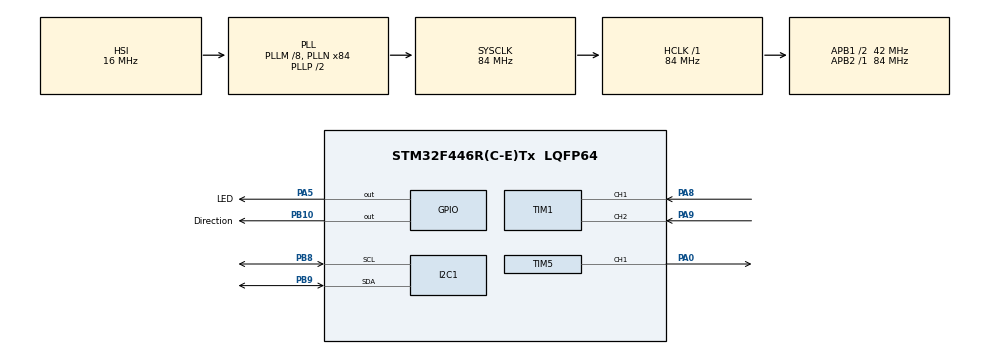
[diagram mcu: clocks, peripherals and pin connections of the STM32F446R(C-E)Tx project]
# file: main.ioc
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I2C1.I2C_Mode=I2C_Fast
Mcu.Family=STM32F4
Mcu.Name=STM32F446R(C-E)Tx
Mcu.Package=LQFP64
NVIC.PriorityGroup=NVIC_PRIORITYGROUP_4
NVIC.TIM2_IRQn=true\:0\:0\:false\:false\:true\:true\:true\:true
PA0-WKUP.Signal=S_TIM5_CH1
PA13.Mode=Serial_Wire
PA13.Signal=SYS_JTMS-SWDIO
PA14.Mode=Serial_Wire
PA14.Signal=SYS_JTCK-SWCLK
PA5.GPIO_Label=LED
PA5.Signal=GPIO_Output
PA8.GPIO_PuPd=GPIO_PULLUP
PA8.Signal=S_TIM1_CH1
PA9.GPIO_PuPd=GPIO_PULLUP
PA9.Signal=S_TIM1_CH2
PB10.GPIO_Label=Direction
PB10.GPIO_PuPd=GPIO_PULLDOWN
PB10.Signal=GPIO_Output
PB3.Signal=SYS_JTDO-SWO
PB8.GPIO_Pu=GPIO_PULLUP
PB8.Mode=I2C
PB8.Signal=I2C1_SCL
PB9.GPIO_Pu=GPIO_PULLUP
PB9.Mode=I2C
PB9.Signal=I2C1_SDA
PH0-OSC_IN.Mode=HSE-External-Oscillator
PH0-OSC_IN.Signal=RCC_OSC_IN
PH1-OSC_OUT.Mode=HSE-External-Oscillator
PH1-OSC_OUT.Signal=RCC_OSC_OUT
ProjectManager.HeapSize=0x200
ProjectManager.StackSize=0x400
ProjectManager.TargetToolchain=STM32CubeIDE
RCC.AHBFreq_Value=84000000
RCC.APB1CLKDivider=RCC_HCLK_DIV2
RCC.APB1Freq_Value=42000000
RCC.APB1TimFreq_Value=84000000
RCC.APB2Freq_Value=84000000
RCC.APB2TimFreq_Value=84000000
RCC.CortexFreq_Value=84000000
RCC.HCLKFreq_Value=84000000
RCC.HSE_VALUE=8000000
RCC.PLLM=8
RCC.PLLN=84
RCC.SYSCLKFreq_VALUE=84000000
RCC.SYSCLKSource=RCC_SYSCLKSOURCE_PLLCLK
RCC.USBFreq_Value=84000000
RCC.VCOOutputFreq_Value=168000000
SH.S_TIM1_CH1.0=TIM1_CH1,Encoder_Interface
SH.S_TIM1_CH2.0=TIM1_CH2,Encoder_Interface
SH.S_TIM5_CH1.0=TIM5_CH1,PWM Generation1 CH1
TIM1.EncoderMode=TIM_ENCODERMODE_TI12
TIM2.Period=336000-1
TIM5.AutoReloadPreload=TIM_AUTORELOAD_PRELOAD_ENABLE
TIM5.Channel-PWM\ Generation1\ CH1=TIM_CHANNEL_1
TIM5.Period=4199
TIM5.Prescaler=0
VP_TIM2_VS_ClockSourceINT.Mode=Internal
board=custom

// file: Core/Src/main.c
/* USER CODE BEGIN Header */
/**
 ******************************************************************************
 * @file           : main.c
 * @brief          : Main program body
 ******************************************************************************
 * @attention
 *
 * Copyright (c) 2024 STMicroelectronics.
 * All rights reserved.
 *
 * This software is licensed under terms that can be found in the LICENSE file
 * in the root directory of this software component.
 * If no LICENSE file comes with this software, it is provided AS-IS.
 *
 ******************************************************************************
 */
/* USER CODE END Header */
#include "main.h"
#include "i2c.h"
#include "tim.h"
#include "gpio.h"

/* USER CODE BEGIN Includes */
#include <stdio.h>
#include <stdint.h>
#include "encoder.h"
#include "mpu6050.h"
#include "kalman_filter.h"
#include "nidec_h24.h"
#include "pid.h"
#include <math.h>
/* USER CODE END Includes */

/* USER CODE BEGIN PV */

//encoder
static encoder_t enc;
static float rpm;

//IMU
static float distance, distance_error, distance_setpoint, new_angle, pid_out;
static mpu_data data;
static HAL_StatusTypeDef status;

//controllers
static PID_t pid;
static float Kp = 9.2;
static float Ki = 0.6;
static float Kd = 0.25;

//Control variables
static float rpm_limit = 0.03;
static float weight_balance = 5;
static float set_point = 0;
static float max_pid = 450;

//kalman
static float in_angle;
static Kalman filter;
static float angle_offset = -2.3;
static float pitch_angle;

//sampling time timer2
static float dt;

//prototype to get the dt
float getDt(TIM_HandleTypeDef *htim);

/* USER CODE END PV */

void SystemClock_Config(void);

int main(void)
{

  /* MCU Configuration--------------------------------------------------------*/

  /* Reset of all peripherals, Initializes the Flash interface and the Systick. */
  HAL_Init();

  /* Configure the system clock */
  SystemClock_Config();

  /* Initialize all configured peripherals */
  MX_GPIO_Init();
  MX_TIM5_Init();
  MX_I2C1_Init();
  MX_TIM1_Init();
  MX_TIM2_Init();
  /* USER CODE BEGIN 2 */

	//compute dt of timer2
	dt = getDt(&htim2);

	//pid config
	pid_init(&pid, Kp, Ki, Kd, -max_pid, max_pid, 150, -150);
	pid_set_setpoint(&pid, set_point);

	//imu init
	status = mpu6050_init();

	data = mpu6050_data(); //achieve the initial angle for the kalman filter

	in_angle = -atan(data.ax / sqrt(data.ay * data.ay + data.az * data.az))* 180 / M_PI;

	// Kalman filter init
	kalman_init(&filter, in_angle ); //set the initial angle

	//motor init
	nidec_h24_init();

	//encoder init
	encoder_init(&enc, AB, &htim1, 100);

	//notifies the term of initialization
	for (int i=0; i<6;i++){
		HAL_Delay(500);
		HAL_GPIO_TogglePin(GPIOA, GPIO_PIN_5);
	}

	//the timer2 starts
	HAL_TIM_Base_Start_IT(&htim2);
  /* USER CODE END 2 */

  /* Infinite loop */
  /* USER CODE BEGIN WHILE */
	while (1) {

		HAL_Delay(1);
    /* USER CODE END WHILE */

	}
}

void SystemClock_Config(void)
{
  RCC_OscInitTypeDef RCC_OscInitStruct = {0};
  RCC_ClkInitTypeDef RCC_ClkInitStruct = {0};

  /** Configure the main internal regulator output voltage
  */
  __HAL_RCC_PWR_CLK_ENABLE();
  __HAL_PWR_VOLTAGESCALING_CONFIG(PWR_REGULATOR_VOLTAGE_SCALE3);

  /** Initializes the RCC Oscillators according to the specified parameters
  * in the RCC_OscInitTypeDef structure.
  */
  RCC_OscInitStruct.OscillatorType = RCC_OSCILLATORTYPE_HSI;
  RCC_OscInitStruct.HSIState = RCC_HSI_ON;
  RCC_OscInitStruct.HSICalibrationValue = RCC_HSICALIBRATION_DEFAULT;
  RCC_OscInitStruct.PLL.PLLState = RCC_PLL_ON;
  RCC_OscInitStruct.PLL.PLLSource = RCC_PLLSOURCE_HSI;
  RCC_OscInitStruct.PLL.PLLM = 8;
  RCC_OscInitStruct.PLL.PLLN = 84;
  RCC_OscInitStruct.PLL.PLLP = RCC_PLLP_DIV2;
  RCC_OscInitStruct.PLL.PLLQ = 2;
  RCC_OscInitStruct.PLL.PLLR = 2;
  if (HAL_RCC_OscConfig(&RCC_OscInitStruct) != HAL_OK)
  {
    Error_Handler();
  }

  /** Initializes the CPU, AHB and APB buses clocks
  */
  RCC_ClkInitStruct.ClockType = RCC_CLOCKTYPE_HCLK|RCC_CLOCKTYPE_SYSCLK
                              |RCC_CLOCKTYPE_PCLK1|RCC_CLOCKTYPE_PCLK2;
  RCC_ClkInitStruct.SYSCLKSource = RCC_SYSCLKSOURCE_PLLCLK;
  RCC_ClkInitStruct.AHBCLKDivider = RCC_SYSCLK_DIV1;
  RCC_ClkInitStruct.APB1CLKDivider = RCC_HCLK_DIV2;
  RCC_ClkInitStruct.APB2CLKDivider = RCC_HCLK_DIV1;

  if (HAL_RCC_ClockConfig(&RCC_ClkInitStruct, FLASH_LATENCY_2) != HAL_OK)
  {
    Error_Handler();
  }
}

/* USER CODE BEGIN 4 */

void HAL_TIM_PeriodElapsedCallback(TIM_HandleTypeDef *htim) {

	if (htim->Instance == TIM2) {

		data = mpu6050_data();

		new_angle = -atan(data.ax / sqrt(data.ay * data.ay + data.az * data.az))
				* 180 / M_PI;

		kalmanUpdate(&filter, data.gy, new_angle);

		pitch_angle = filter.angle - angle_offset;

		distance = -10 * pitch_angle;
		distance_error = distance_setpoint - distance;

		if (distance_error < distance_setpoint) {
			distance_setpoint -= weight_balance * dt;
		} else {
			distance_setpoint += weight_balance * dt;
		}

		rpm = fabs(encoder_get_pps(&enc));

		if (pid_out < 0 && rpm > 700)
			distance_setpoint -= rpm_limit;

		if (pid_out > 0 && rpm > 700)
			distance_setpoint += rpm_limit;

		pid_set_setpoint(&pid, distance_setpoint);

		if (pitch_angle < -20 || pitch_angle > 20) {
			distance_setpoint = 0;
			nidec_h24_Move(0, 0, 0);
			pid_reset(&pid);
		} else {
			pid_out = pid_compute_control_action(&pid, distance);
			nidec_h24_Move(pid_out, 450, 1);
		}
	}

}

float getDt(TIM_HandleTypeDef *htim) {
	if (htim->Instance == TIM2 || htim->Instance == TIM3
			|| htim->Instance == TIM4 || htim->Instance == TIM5
			|| htim->Instance == TIM6 || htim->Instance == TIM7)
		return (float) (((uint32_t) htim->Instance->ARR) + 1)
				* (((uint32_t) htim->Instance->PSC) + 1)
				/ ((uint32_t) HAL_RCC_GetPCLK1Freq() * 2);
	else
		return (float) (((uint32_t) htim->Instance->ARR) + 1)
				* (((uint32_t) htim->Instance->PSC) + 1)
				/ ((uint32_t) HAL_RCC_GetPCLK2Freq());
}
/* USER CODE END 4 */

void Error_Handler(void)
{
	__disable_irq();
	while (1) {
	}
}
